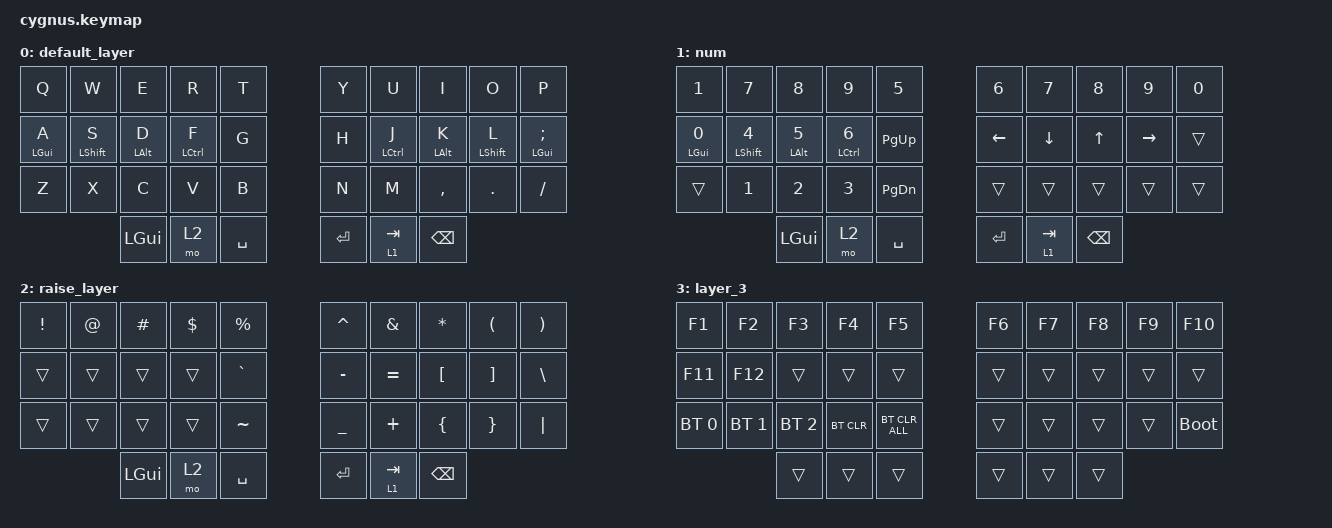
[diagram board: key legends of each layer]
#include <behaviors.dtsi>
#include <dt-bindings/zmk/bt.h>
#include <dt-bindings/zmk/keys.h>

/ {
    behaviors {
        hm: homerow_mods {
            compatible = "zmk,behavior-hold-tap";
            label = "HOMEROW_MODS";
            #binding-cells = <2>;
            tapping-term-ms = <200>;
            quick_tap_ms = <0>;
            flavor = "tap-preferred";
            bindings = <&kp>, <&kp>;

            quick-tap-ms = <180>;
            global-quick-tap;
        };
    };
    keymap {
        compatible = "zmk,keymap";

        default_layer {
            // -----------------------------------------------------------------------------------------
            // |  Q  |  W  |  E  |  R  |  T  |   |  Y  |  U   |  I  |  O  |  P  |
            // |  A  |  S  |  D  |  F  |  G  |   |  H  |  J   |  K  |  L  |  ;  |
            // |  Z  |  X  |  C  |  V  |  B  |   |  N  |  M   |  ,  |  .  |  /  |
            // | GUI | CTRL | SHFT | LWR | SPC |   | ENT | RSE  | BKSP | ALT | ESC |

            bindings = <
&kp Q       &kp W        &kp E       &kp R        &kp T      &kp Y    &kp U        &kp I       &kp O        &kp P
&hm LGUI A  &hm LSHFT S  &hm LALT D  &hm LCTRL F  &kp G      &kp H    &hm LCTRL J  &hm LALT K  &hm LSHFT L  &hm LGUI SEMI
&kp Z       &kp X        &kp C       &kp V        &kp B      &kp N    &kp M        &kp COMMA   &kp DOT      &kp FSLH
            &kp LGUI    &mo 2        &kp SPACE  &kp RET  &lt 1 TAB    &kp BSPC
            >;
        };

        num {
            // -----------------------------------------------------------------------------------------
            // |  TAB |  1  |  2  |  3  |  4  |  5  |   |  6  |  7  |  8  |  9  |  0  | BKSP |
            // | BTCLR| BT1 | BT2 | BT3 | BT4 | BT5 |   | LFT | DWN |  UP | RGT |     |      |
            // | SHFT |     |     |     |     |     |   |     |     |     |     |     |      |
            // | GUI | CTRL | SHFT | LWR | SPC |   | ENT | RSE  | BKSP | ALT | ESC |

            bindings = <
&kp N1       &kp N7        &kp N8       &kp N9        &kp N5         &kp N6    &kp N7     &kp N8    &kp N9     &kp N0
&hm LGUI N0  &hm LSHFT N4  &hm LALT N5  &hm LCTRL N6  &kp PAGE_UP    &kp LEFT  &kp DOWN   &kp UP    &kp RIGHT  &trans
&trans       &kp N1        &kp N2       &kp N3        &kp PAGE_DOWN  &trans    &trans     &trans    &trans     &trans
            &kp LGUI     &mo 2         &kp SPACE      &kp RET   &lt 1 TAB  &kp BSPC
            >;
        };

        raise_layer {
            // -----------------------------------------------------------------------------------------
            // |  TAB |  !  |  @  |  #  |  $  |  %  |   |  ^  |  &  |  *  |  (  |  )  | BKSP |
            // | CTRL |     |     |     |     |     |   |  -  |  =  |  [  |  ]  |  \  |  `   |
            // | SHFT |     |     |     |     |     |   |  _  |  +  |  {  |  }  | "|" |  ~   |
            //                    | GUI |     | SPC |   | ENT |     | ALT |

            bindings = <
&kp EXCL   &kp AT     &kp HASH  &kp DLLR  &kp PRCNT  &kp CARET  &kp AMPS   &kp ASTRK  &kp LPAR  &kp RPAR
&trans     &trans     &trans    &trans    &kp GRAVE  &kp MINUS  &kp EQUAL  &kp LBKT   &kp RBKT  &kp BSLH
&trans     &trans     &trans    &trans    &kp TILDE  &kp UNDER  &kp PLUS   &kp LBRC   &kp RBRC  &kp PIPE
            &kp LGUI  &mo 2     &kp SPACE  &kp RET    &lt 1 TAB  &kp BSPC
            >;
        };

        layer_3 {
            bindings = <
&kp F1        &kp F2        &kp F3        &kp F4      &kp F5          &kp F6  &kp F7  &kp F8  &kp F9  &kp F10
&kp F11       &kp F12       &trans        &trans      &trans          &trans  &trans  &trans  &trans  &trans
&bt BT_SEL 0  &bt BT_SEL 1  &bt BT_SEL 2  &bt BT_CLR  &bt BT_CLR_ALL  &trans  &trans  &trans  &trans  &bootloader
         &trans        &trans      &trans          &trans  &trans  &trans
            >;
        };
    };

    conditional_layers {
        compatible = "zmk,conditional-layers";

        l3 {
            if-layers = <1 2>;
            then-layer = <3>;
        };
    };
};
